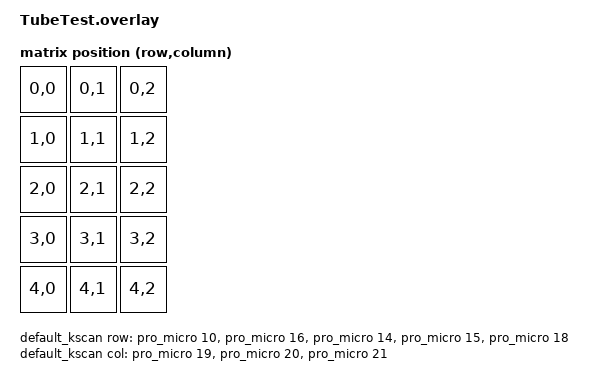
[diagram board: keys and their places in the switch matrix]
#include <dt-bindings/zmk/matrix_transform.h> 

/ {
    chosen {
        zmk,kscan = &default_kscan;
        zmk,matrix_transform = &default_transform;
    };

    default_kscan: kscan {
        compatible = "zmk,kscan-gpio-matrix";
        label = "default_kscan";
        diode-direction = "col2row";

        row-gpios = <&pro_micro 10 (GPIO_ACTIVE_HIGH | GPIO_PULL_DOWN)>,
                    <&pro_micro 16 (GPIO_ACTIVE_HIGH | GPIO_PULL_DOWN)>,
                    <&pro_micro 14 (GPIO_ACTIVE_HIGH | GPIO_PULL_DOWN)>,
                    <&pro_micro 15 (GPIO_ACTIVE_HIGH | GPIO_PULL_DOWN)>,
                    <&pro_micro 18 (GPIO_ACTIVE_HIGH | GPIO_PULL_DOWN)>;

        col-gpios = <&pro_micro 19 GPIO_ACTIVE_HIGH>,
                    <&pro_micro 20 GPIO_ACTIVE_HIGH>,
                    <&pro_micro 21 GPIO_ACTIVE_HIGH>;      
    };

    default_transform: matrix_transform {
        compatible = "zmk,matrix-transform";
        rows = <5>;
        columns = <3>;

        map = <
            RC(0,0) RC(0,1) RC(0,2)   // Row 0: 3 columns
            RC(1,0) RC(1,1) RC(1,2)   // Row 1: 3 columns
            RC(2,0) RC(2,1) RC(2,2)   // Row 2: 3 columns
            RC(3,0) RC(3,1) RC(3,2)   // Row 3: 3 columns
            RC(4,0) RC(4,1) RC(4,2)   // Row 4: 3 columns
        >;
    };
};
